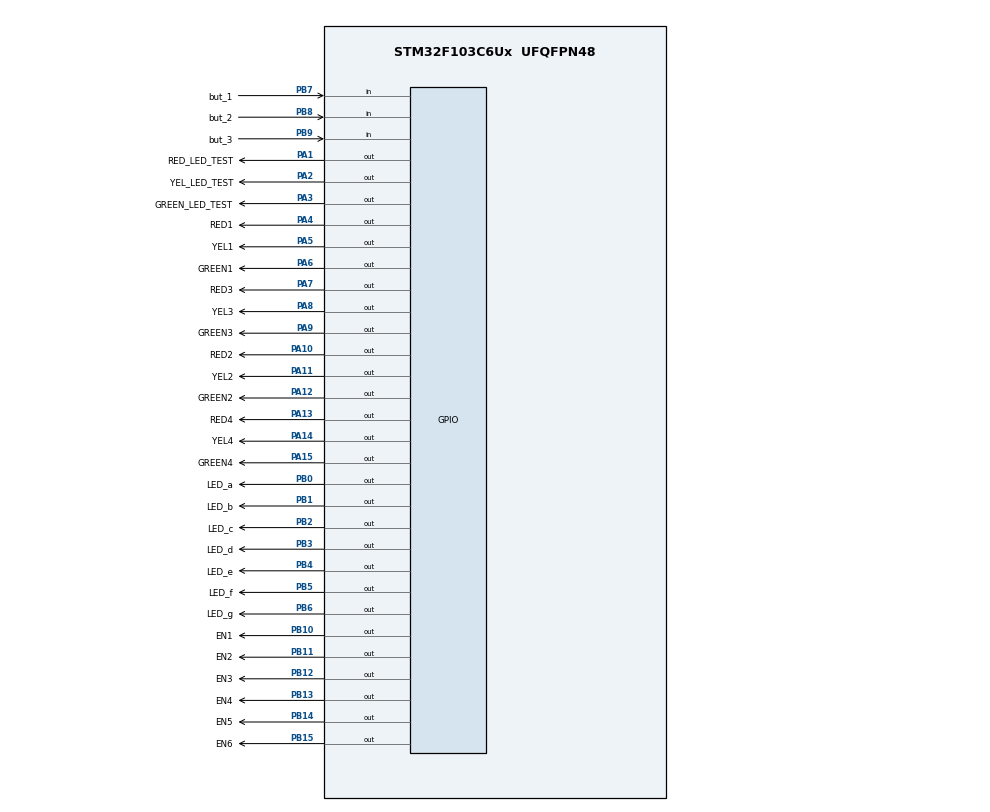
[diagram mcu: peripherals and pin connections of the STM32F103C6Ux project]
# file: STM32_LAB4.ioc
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Mcu.Family=STM32F1
Mcu.Name=STM32F103C6Ux
Mcu.Package=UFQFPN48
NVIC.PriorityGroup=NVIC_PRIORITYGROUP_4
NVIC.TIM2_IRQn=true\:0\:0\:false\:false\:true\:true\:true
PA1.GPIO_Label=RED_LED_TEST
PA1.Signal=GPIO_Output
PA10.GPIO_Label=RED2
PA10.Signal=GPIO_Output
PA11.GPIO_Label=YEL2
PA11.Signal=GPIO_Output
PA12.GPIO_Label=GREEN2
PA12.Signal=GPIO_Output
PA13.GPIO_Label=RED4
PA13.Signal=GPIO_Output
PA14.GPIO_Label=YEL4
PA14.Signal=GPIO_Output
PA15.GPIO_Label=GREEN4
PA15.Signal=GPIO_Output
PA2.GPIO_Label=YEL_LED_TEST
PA2.Signal=GPIO_Output
PA3.GPIO_Label=GREEN_LED_TEST
PA3.Signal=GPIO_Output
PA4.GPIO_Label=RED1
PA4.Signal=GPIO_Output
PA5.GPIO_Label=YEL1
PA5.Signal=GPIO_Output
PA6.GPIO_Label=GREEN1
PA6.Signal=GPIO_Output
PA7.GPIO_Label=RED3
PA7.Signal=GPIO_Output
PA8.GPIO_Label=YEL3
PA8.Signal=GPIO_Output
PA9.GPIO_Label=GREEN3
PA9.Signal=GPIO_Output
PB0.GPIO_Label=LED_a
PB0.Signal=GPIO_Output
PB1.GPIO_Label=LED_b
PB1.Signal=GPIO_Output
PB10.GPIO_Label=EN1
PB10.Signal=GPIO_Output
PB11.GPIO_Label=EN2
PB11.Signal=GPIO_Output
PB12.GPIO_Label=EN3
PB12.Signal=GPIO_Output
PB13.GPIO_Label=EN4
PB13.Signal=GPIO_Output
PB14.GPIO_Label=EN5
PB14.Signal=GPIO_Output
PB15.GPIO_Label=EN6
PB15.Signal=GPIO_Output
PB2.GPIO_Label=LED_c
PB2.Signal=GPIO_Output
PB3.GPIO_Label=LED_d
PB3.Signal=GPIO_Output
PB4.GPIO_Label=LED_e
PB4.Signal=GPIO_Output
PB5.GPIO_Label=LED_f
PB5.Signal=GPIO_Output
PB6.GPIO_Label=LED_g
PB6.Signal=GPIO_Output
PB7.GPIO_Label=but_1
PB7.GPIO_PuPd=GPIO_PULLUP
PB7.Signal=GPIO_Input
PB8.GPIO_Label=but_2
PB8.GPIO_PuPd=GPIO_PULLUP
PB8.Signal=GPIO_Input
PB9.GPIO_Label=but_3
PB9.GPIO_PuPd=GPIO_PULLUP
PB9.Signal=GPIO_Input
ProjectManager.HeapSize=0x200
ProjectManager.StackSize=0x400
ProjectManager.TargetToolchain=STM32CubeIDE
RCC.APB1Freq_Value=8000000
RCC.APB2Freq_Value=8000000
TIM2.Period=9
TIM2.Prescaler=7999
VP_SYS_VS_ND.Mode=No_Debug
VP_TIM2_VS_ClockSourceINT.Mode=Internal
board=custom

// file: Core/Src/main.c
/* USER CODE BEGIN Header */
/**
  ******************************************************************************
  * @file           : main.c
  * @brief          : Main program body
  ******************************************************************************
  * @attention
  *
  * <h2><center>&copy; Copyright (c) 2025 STMicroelectronics.
  * All rights reserved.</center></h2>
  *
  * This software component is licensed by ST under BSD 3-Clause license,
  * the "License"; You may not use this file except in compliance with the
  * License. You may obtain a copy of the License at:
  *                        opensource.org/licenses/BSD-3-Clause
  *
  ******************************************************************************
  */
/* USER CODE END Header */
#include "main.h"

/* USER CODE BEGIN Includes */
//#include "button.h"
#include "sw_timer.h"
#include "global.h"
#include "fsm_auto.h"
#include "fsm_manual.h"
#include "setTrafficLed.h"
#include "set7SEG.h"
#include "mode_control.h"
#include "scheduler.h"
#include "taskList.h"
//#include "mode_control.h"
/* USER CODE END Includes */

TIM_HandleTypeDef htim2;

void SystemClock_Config(void);
static void MX_GPIO_Init(void);
static void MX_TIM2_Init(void);

int main(void)
{

  /* MCU Configuration--------------------------------------------------------*/

  /* Reset of all peripherals, Initializes the Flash interface and the Systick. */
  HAL_Init();

  /* Configure the system clock */
  SystemClock_Config();

  /* Initialize all configured peripherals */
  MX_GPIO_Init();
  MX_TIM2_Init();
  /* USER CODE BEGIN 2 */
  SCH_Add_Task(task_toggleTest, 0, 100);
  SCH_Add_Task(task_blinkToggle,0, 50);
  SCH_Add_Task(task_readButton, 0, 1);
  SCH_Add_Task(task_checkMode, 0, 1);
  SCH_Add_Task(task_fsmAutoRun, 0, 1);
  SCH_Add_Task(task_fsmManualRun, 0, 1);
  SCH_Add_Task(task_display7SEG, 0, 17);
  SCH_Add_Task(task_updateCountdown, 0, 100);
  SCH_Add_Task(task_checkNoReact, 0, 10);
  initAllButtons();
  HAL_TIM_Base_Start_IT(&htim2);
  /* USER CODE END 2 */

  /* Infinite loop */
  /* USER CODE BEGIN WHILE */
  main_status = MAIN_INIT;
  sub_status  = SUB_INIT;
  mode = MODE_AUTO;
  led_idx = 0;

  while (1)
  {
	  SCH_Dispatch();

	 __WFI();
    /* USER CODE END WHILE */

  }
}

void SystemClock_Config(void)
{
  RCC_OscInitTypeDef RCC_OscInitStruct = {0};
  RCC_ClkInitTypeDef RCC_ClkInitStruct = {0};

  /** Initializes the RCC Oscillators according to the specified parameters
  * in the RCC_OscInitTypeDef structure.
  */
  RCC_OscInitStruct.OscillatorType = RCC_OSCILLATORTYPE_HSI;
  RCC_OscInitStruct.HSIState = RCC_HSI_ON;
  RCC_OscInitStruct.HSICalibrationValue = RCC_HSICALIBRATION_DEFAULT;
  RCC_OscInitStruct.PLL.PLLState = RCC_PLL_NONE;
  if (HAL_RCC_OscConfig(&RCC_OscInitStruct) != HAL_OK)
  {
    Error_Handler();
  }
  /** Initializes the CPU, AHB and APB buses clocks
  */
  RCC_ClkInitStruct.ClockType = RCC_CLOCKTYPE_HCLK|RCC_CLOCKTYPE_SYSCLK
                              |RCC_CLOCKTYPE_PCLK1|RCC_CLOCKTYPE_PCLK2;
  RCC_ClkInitStruct.SYSCLKSource = RCC_SYSCLKSOURCE_HSI;
  RCC_ClkInitStruct.AHBCLKDivider = RCC_SYSCLK_DIV1;
  RCC_ClkInitStruct.APB1CLKDivider = RCC_HCLK_DIV1;
  RCC_ClkInitStruct.APB2CLKDivider = RCC_HCLK_DIV1;

  if (HAL_RCC_ClockConfig(&RCC_ClkInitStruct, FLASH_LATENCY_0) != HAL_OK)
  {
    Error_Handler();
  }
}

static void MX_TIM2_Init(void)
{

  TIM_ClockConfigTypeDef sClockSourceConfig = {0};
  TIM_MasterConfigTypeDef sMasterConfig = {0};

  htim2.Instance = TIM2;
  htim2.Init.Prescaler = 7999;
  htim2.Init.CounterMode = TIM_COUNTERMODE_UP;
  htim2.Init.Period = 9;
  htim2.Init.ClockDivision = TIM_CLOCKDIVISION_DIV1;
  htim2.Init.AutoReloadPreload = TIM_AUTORELOAD_PRELOAD_DISABLE;
  if (HAL_TIM_Base_Init(&htim2) != HAL_OK)
  {
    Error_Handler();
  }
  sClockSourceConfig.ClockSource = TIM_CLOCKSOURCE_INTERNAL;
  if (HAL_TIM_ConfigClockSource(&htim2, &sClockSourceConfig) != HAL_OK)
  {
    Error_Handler();
  }
  sMasterConfig.MasterOutputTrigger = TIM_TRGO_RESET;
  sMasterConfig.MasterSlaveMode = TIM_MASTERSLAVEMODE_DISABLE;
  if (HAL_TIMEx_MasterConfigSynchronization(&htim2, &sMasterConfig) != HAL_OK)
  {
    Error_Handler();
  }

}

static void MX_GPIO_Init(void)
{
  GPIO_InitTypeDef GPIO_InitStruct = {0};

  /* GPIO Ports Clock Enable */
  __HAL_RCC_GPIOA_CLK_ENABLE();
  __HAL_RCC_GPIOB_CLK_ENABLE();

  /*Configure GPIO pin Output Level */
  HAL_GPIO_WritePin(GPIOA, RED_LED_TEST_Pin|YEL_LED_TEST_Pin|GREEN_LED_TEST_Pin|RED1_Pin
                          |YEL1_Pin|GREEN1_Pin|RED3_Pin|YEL3_Pin
                          |GREEN3_Pin|RED2_Pin|YEL2_Pin|GREEN2_Pin
                          |RED4_Pin|YEL4_Pin|GREEN4_Pin, GPIO_PIN_RESET);

  /*Configure GPIO pin Output Level */
  HAL_GPIO_WritePin(GPIOB, LED_a_Pin|LED_b_Pin|LED_c_Pin|EN1_Pin
                          |EN2_Pin|EN3_Pin|EN4_Pin|EN5_Pin
                          |EN6_Pin|LED_d_Pin|LED_e_Pin|LED_f_Pin
                          |LED_g_Pin, GPIO_PIN_RESET);

  /*Configure GPIO pins : RED_LED_TEST_Pin YEL_LED_TEST_Pin GREEN_LED_TEST_Pin RED1_Pin
                           YEL1_Pin GREEN1_Pin RED3_Pin YEL3_Pin
                           GREEN3_Pin RED2_Pin YEL2_Pin GREEN2_Pin
                           RED4_Pin YEL4_Pin GREEN4_Pin */
  GPIO_InitStruct.Pin = RED_LED_TEST_Pin|YEL_LED_TEST_Pin|GREEN_LED_TEST_Pin|RED1_Pin
                          |YEL1_Pin|GREEN1_Pin|RED3_Pin|YEL3_Pin
                          |GREEN3_Pin|RED2_Pin|YEL2_Pin|GREEN2_Pin
                          |RED4_Pin|YEL4_Pin|GREEN4_Pin;
  GPIO_InitStruct.Mode = GPIO_MODE_OUTPUT_PP;
  GPIO_InitStruct.Pull = GPIO_NOPULL;
  GPIO_InitStruct.Speed = GPIO_SPEED_FREQ_LOW;
  HAL_GPIO_Init(GPIOA, &GPIO_InitStruct);

  /*Configure GPIO pins : LED_a_Pin LED_b_Pin LED_c_Pin EN1_Pin
                           EN2_Pin EN3_Pin EN4_Pin EN5_Pin
                           EN6_Pin LED_d_Pin LED_e_Pin LED_f_Pin
                           LED_g_Pin */
  GPIO_InitStruct.Pin = LED_a_Pin|LED_b_Pin|LED_c_Pin|EN1_Pin
                          |EN2_Pin|EN3_Pin|EN4_Pin|EN5_Pin
                          |EN6_Pin|LED_d_Pin|LED_e_Pin|LED_f_Pin
                          |LED_g_Pin;
  GPIO_InitStruct.Mode = GPIO_MODE_OUTPUT_PP;
  GPIO_InitStruct.Pull = GPIO_NOPULL;
  GPIO_InitStruct.Speed = GPIO_SPEED_FREQ_LOW;
  HAL_GPIO_Init(GPIOB, &GPIO_InitStruct);

  /*Configure GPIO pins : but_1_Pin but_2_Pin but_3_Pin */
  GPIO_InitStruct.Pin = but_1_Pin|but_2_Pin|but_3_Pin;
  GPIO_InitStruct.Mode = GPIO_MODE_INPUT;
  GPIO_InitStruct.Pull = GPIO_PULLUP;
  HAL_GPIO_Init(GPIOB, &GPIO_InitStruct);

}

/* USER CODE BEGIN 4 */
	void HAL_TIM_PeriodElapsedCallback(TIM_HandleTypeDef * htim) {
		if (htim->Instance == TIM2) {
			SCH_Update();
		}
	}
/* USER CODE END 4 */

void Error_Handler(void)
{
  __disable_irq();
  while (1)
  {
  }
}

/************************ (C) COPYRIGHT STMicroelectronics *****END OF FILE****/
